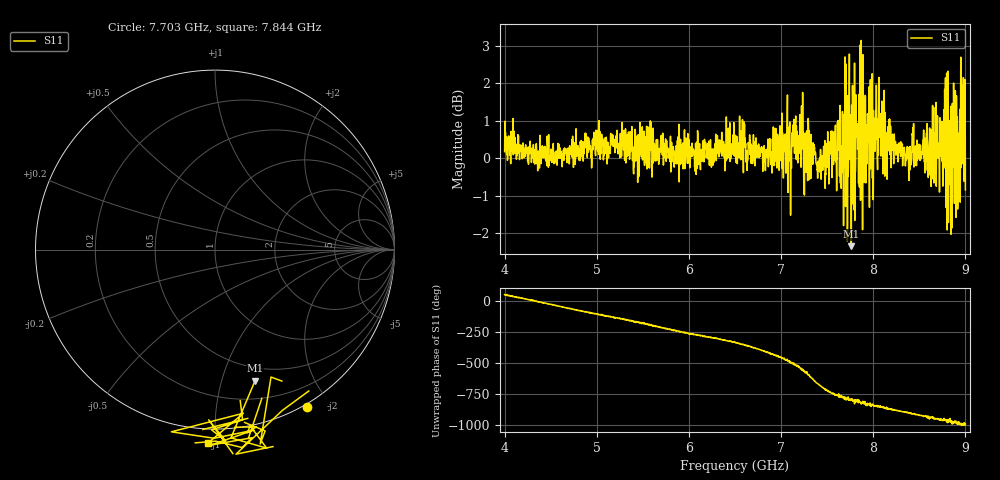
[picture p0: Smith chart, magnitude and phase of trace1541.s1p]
! Created with skrf 1.8.0 (http://scikit-rf.org).
# Hz S RI R 50.0
!freq ReS11 ImS11
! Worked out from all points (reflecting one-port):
!   1601 points, 4 GHz to 9 GHz, reference 50 ohm
!   lowest |S11| = -2.3 dB at 7.762 GHz (marker M1), VSWR 7.45, Z = 18.4 - j64.3 ohm
!   phase of S11 starts at 51 deg and turns -1048 deg over the sweep
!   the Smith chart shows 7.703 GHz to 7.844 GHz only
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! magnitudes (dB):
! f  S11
! 4 GHz  0.2
! 4.625 GHz  -0.2
! 5.25 GHz  0.0
! 5.875 GHz  0.5
! 6.5 GHz  0.4
! 6.825 GHz  0.0
! 7.125 GHz  0.7
! 7.216 GHz  -0.2
! 7.262 GHz  0.7
! 7.35 GHz  0.1
! 7.409 GHz  -0.3
! 7.616 GHz  0.7
! 7.659 GHz  -0.4
! 7.691 GHz  -0.2
! 7.703 GHz  0.1
! 7.75 GHz  0.3
! 7.762 GHz  -2.3
! 7.769 GHz  0.6
! 7.869 GHz  3.1
! 7.981 GHz  0.6
! 8.05 GHz  1.0
! 8.375 GHz  0.1
! 8.788 GHz  -1.0
! 8.841 GHz  1.4
! 8.884 GHz  1.7
! 8.919 GHz  -1.0
! 8.972 GHz  1.2
! 9 GHz  -0.8
